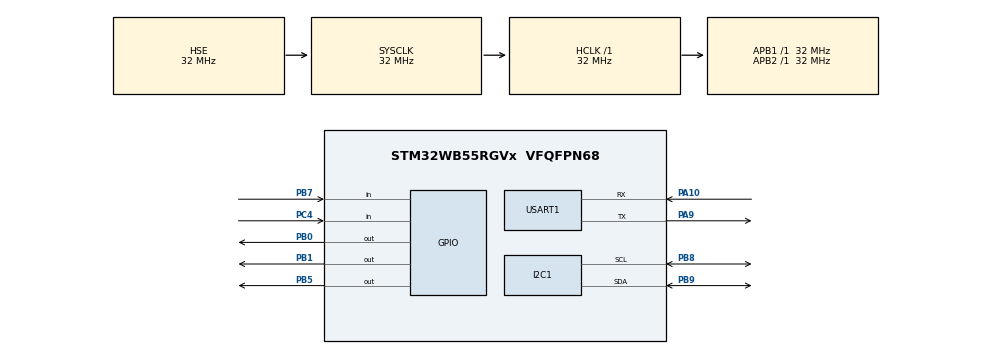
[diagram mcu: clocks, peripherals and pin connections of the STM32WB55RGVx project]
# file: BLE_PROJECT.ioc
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Dma.Request0=USART1_RX
Dma.Request1=USART1_TX
Dma.USART1_RX.0.Direction=DMA_PERIPH_TO_MEMORY
Dma.USART1_RX.0.EventEnable=DISABLE
Dma.USART1_RX.0.Instance=DMA1_Channel1
Dma.USART1_RX.0.MemDataAlignment=DMA_MDATAALIGN_BYTE
Dma.USART1_RX.0.MemInc=DMA_MINC_ENABLE
Dma.USART1_RX.0.Mode=DMA_NORMAL
Dma.USART1_RX.0.PeriphDataAlignment=DMA_PDATAALIGN_BYTE
Dma.USART1_RX.0.PeriphInc=DMA_PINC_DISABLE
Dma.USART1_RX.0.Polarity=HAL_DMAMUX_REQ_GEN_RISING
Dma.USART1_RX.0.Priority=DMA_PRIORITY_LOW
Dma.USART1_RX.0.RequestNumber=1
Dma.USART1_RX.0.SignalID=NONE
Dma.USART1_RX.0.SyncEnable=DISABLE
Dma.USART1_RX.0.SyncPolarity=HAL_DMAMUX_SYNC_NO_EVENT
Dma.USART1_RX.0.SyncRequestNumber=1
Dma.USART1_RX.0.SyncSignalID=NONE
Dma.USART1_TX.1.Direction=DMA_MEMORY_TO_PERIPH
Dma.USART1_TX.1.EventEnable=DISABLE
Dma.USART1_TX.1.Instance=DMA1_Channel2
Dma.USART1_TX.1.MemDataAlignment=DMA_MDATAALIGN_BYTE
Dma.USART1_TX.1.MemInc=DMA_MINC_ENABLE
Dma.USART1_TX.1.Mode=DMA_NORMAL
Dma.USART1_TX.1.PeriphDataAlignment=DMA_PDATAALIGN_BYTE
Dma.USART1_TX.1.PeriphInc=DMA_PINC_DISABLE
Dma.USART1_TX.1.Polarity=HAL_DMAMUX_REQ_GEN_RISING
Dma.USART1_TX.1.Priority=DMA_PRIORITY_LOW
Dma.USART1_TX.1.RequestNumber=1
Dma.USART1_TX.1.SignalID=NONE
Dma.USART1_TX.1.SyncEnable=DISABLE
Dma.USART1_TX.1.SyncPolarity=HAL_DMAMUX_SYNC_NO_EVENT
Dma.USART1_TX.1.SyncRequestNumber=1
Dma.USART1_TX.1.SyncSignalID=NONE
I2C1.Timing=0x00B07CB4
Mcu.Family=STM32WB
Mcu.Name=STM32WB55RGVx
Mcu.Package=VFQFPN68
NVIC.DMA1_Channel1_IRQn=true\:0\:0\:false\:false\:true\:false\:true\:true
NVIC.DMA1_Channel2_IRQn=true\:0\:0\:false\:false\:true\:false\:true\:true
NVIC.HSEM_IRQn=true\:0\:0\:false\:false\:true\:false\:true\:true
NVIC.IPCC_C1_RX_IRQn=true\:0\:0\:false\:false\:true\:true\:true\:true
NVIC.IPCC_C1_TX_IRQn=true\:0\:0\:false\:false\:true\:true\:true\:true
NVIC.PriorityGroup=NVIC_PRIORITYGROUP_4
NVIC.RTC_WKUP_IRQn=true\:0\:0\:false\:false\:true\:true\:true\:true
NVIC.USART1_IRQn=true\:0\:0\:false\:false\:true\:true\:true\:true
OSC_IN.Mode=HSE-External-Oscillator
OSC_IN.Signal=RCC_OSC_IN
OSC_OUT.Mode=HSE-External-Oscillator
OSC_OUT.Signal=RCC_OSC_OUT
PA10.Mode=Asynchronous
PA10.Signal=USART1_RX
PA9.Mode=Asynchronous
PA9.Signal=USART1_TX
PB0.Signal=GPIO_Output
PB1.Signal=GPIO_Output
PB5.Signal=GPIO_Output
PB7.GPIO_PuPd=GPIO_PULLUP
PB7.Signal=GPIO_Input
PB8.Mode=I2C
PB8.Signal=I2C1_SCL
PB9.Mode=I2C
PB9.Signal=I2C1_SDA
PC14-OSC32_IN.Mode=LSE-External-Oscillator
PC14-OSC32_IN.Signal=RCC_OSC32_IN
PC15-OSC32_OUT.Mode=LSE-External-Oscillator
PC15-OSC32_OUT.Signal=RCC_OSC32_OUT
PC4.GPIO_PuPd=GPIO_PULLUP
PC4.Signal=GPIO_Input
ProjectManager.HeapSize=0x200
ProjectManager.StackSize=0x400
ProjectManager.TargetToolchain=STM32CubeIDE
RCC.AHBFreq_Value=32000000
RCC.APB1Freq_Value=32000000
RCC.APB1TimFreq_Value=32000000
RCC.APB2Freq_Value=32000000
RCC.APB2TimFreq_Value=32000000
RCC.APB3Freq_Value=16000000
RCC.CortexFreq_Value=32000000
RCC.HCLKFreq_Value=32000000
RCC.HSE_VALUE=32000000
RCC.HSI48_VALUE=48000000
RCC.HSI_VALUE=16000000
RCC.RFWKPClockSelection=RCC_RFWKPCLKSOURCE_LSE
RCC.RTCClockSelection=RCC_RTCCLKSOURCE_LSE
RCC.SYSCLKFreq_VALUE=32000000
RCC.SYSCLKSource=RCC_SYSCLKSOURCE_HSE
RCC.VCOOutputFreq_Value=32000000
RF1.Mode=RF1_Activate
RF1.Signal=RF_RF1
STM32_WPAN.AD_TYPE_COMPLETE_LOCAL_NAME=HUA_DEVICE
STM32_WPAN.AD_TYPE_COMPLETE_LOCAL_NAME_LENGTH=11
STM32_WPAN.BLE_DBG_APP_EN=1
STM32_WPAN.CFG_DEBUGGER_SUPPORTED=1
STM32_WPAN.CFG_DEBUG_APP_TRACE=1
STM32_WPAN.CFG_DEBUG_BLE_TRACE=1
STM32_WPAN.CFG_DEBUG_TRACE_FULL=1
STM32_WPAN.CFG_DEBUG_TRACE_UART=hw_uart1
STM32_WPAN.CFG_HW_USART1_ENABLED=1
STM32_WPAN.CFG_LPM_SUPPORTED=0
STM32_WPAN.CFG_USED_FIXED_PIN=1
STM32_WPAN.CUSTOM_P2P_SERVER=Disabled
STM32_WPAN.CUSTOM_TEMPLATE=Enabled
STM32_WPAN.INCLUDE_AD_TYPE_COMPLETE_LOCAL_NAME=1
STM32_WPAN.LOCAL_NAME=QWER
STM32_WPAN.LOCAL_NAME_FORMATTED=,'Q','W','E','R'
STM32_WPAN.NUMBER_OF_SERVICES=1
STM32_WPAN.SERVICE1_CHAR1_ATTR_PERMISSION_AUTHEN_READ=ATTR_PERMISSION_AUTHEN_READ
STM32_WPAN.SERVICE1_CHAR1_GATT_NOTIFY_READ_REQ_AND_WAIT_FOR_APPL_RESP=\ 
STM32_WPAN.SERVICE1_CHAR1_GATT_NOTIFY_WRITE_REQ_AND_WAIT_FOR_APPL_RESP=\ 
STM32_WPAN.SERVICE1_CHAR1_LONG_NAME=datasend
STM32_WPAN.SERVICE1_CHAR1_PROP_BROADCAST=CHAR_PROP_BROADCAST
STM32_WPAN.SERVICE1_CHAR1_PROP_INDICATE=CHAR_PROP_INDICATE
STM32_WPAN.SERVICE1_CHAR1_PROP_NOTIFY=CHAR_PROP_NOTIFY
STM32_WPAN.SERVICE1_CHAR1_PROP_READ=CHAR_PROP_READ
STM32_WPAN.SERVICE1_CHAR1_PROP_WRITE=CHAR_PROP_WRITE
STM32_WPAN.SERVICE1_CHAR1_SHORT_NAME=datasend
STM32_WPAN.SERVICE1_CHAR1_VALUE_LENGTH=256
STM32_WPAN.SERVICE1_CHAR2_UUID=00 01
STM32_WPAN.SERVICE1_LONG_NAME=MYSVC
STM32_WPAN.SERVICE1_NUMBER_OF_CHARACTERISTICS=1
STM32_WPAN.SERVICE1_SHORT_NAME=MYSVC
USART1.VirtualMode-Asynchronous=VM_ASYNC
VP_HSEM_VS_HSEM.Mode=HSEM_Activate
VP_IPCC_VS_IPCC.Mode=IPCC_Activate
VP_MEMORYMAP_VS_MEMORYMAP.Mode=CurAppReg
VP_RTC_VS_RTC_Activate.Mode=RTC_Enabled
VP_RTC_VS_RTC_Calendar.Mode=RTC_Calendar
VP_RTC_VS_RTC_WakeUp_intern.Mode=WakeUp
VP_SEQUENCER_VS_SEQUENCER.Mode=SEQUENCER_Enabled
VP_STM32_WPAN_VS_BLE_HOST.Mode=STM32_WPAN_Enabled
VP_TINY_LPM_VS_TINY_LPM.Mode=TINY_LPM_Enabled
board=custom

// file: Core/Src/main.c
/* USER CODE BEGIN Header */
/**
  ******************************************************************************
  * @file           : main.c
  * @brief          : Main program body
  ******************************************************************************
  * @attention
  *
  * Copyright (c) 2024 STMicroelectronics.
  * All rights reserved.
  *
  * This software is licensed under terms that can be found in the LICENSE file
  * in the root directory of this software component.
  * If no LICENSE file comes with this software, it is provided AS-IS.
  *
  ******************************************************************************
  */
/* USER CODE END Header */
#include "main.h"
#include "dma.h"
#include "i2c.h"
#include "ipcc.h"
#include "memorymap.h"
#include "rf.h"
#include "rtc.h"
#include "usart.h"
#include "gpio.h"

/* USER CODE BEGIN Includes */
#include"task.h"
#include"app_conf.h"
#include "dbg_trace.h"
#include"stdio.h"
#include"app_ble.h"
#include"MAX30102.h"
#include"algorithm.h"
#include"app_debug.h"
/* USER CODE END Includes */

/* USER CODE BEGIN PV */
uint8_t HR_Value;

uint8_t BO_Value;

/* USER CODE END PV */

void SystemClock_Config(void);
void PeriphCommonClock_Config(void);

int main(void)
{

  /* MCU Configuration--------------------------------------------------------*/

  /* Reset of all peripherals, Initializes the Flash interface and the Systick. */
  HAL_Init();
  /* Config code for STM32_WPAN (HSE Tuning must be done before system clock configuration) */
  MX_APPE_Config();

  /* Configure the system clock */
  SystemClock_Config();

  /* Configure the peripherals common clocks */
  PeriphCommonClock_Config();

  /* IPCC initialisation */
  MX_IPCC_Init();

  /* Initialize all configured peripherals */
  MX_RF_Init();
  MX_GPIO_Init();
  MX_DMA_Init();
  MX_RTC_Init();
  MX_USART1_UART_Init();
  MX_I2C1_Init();
  /* USER CODE BEGIN 2 */
  APPD_Init();

  /* USER CODE END 2 */

  /* Init code for STM32_WPAN */
  MX_APPE_Init();

  /* Infinite loop */
  /* USER CODE BEGIN WHILE */
  max30102_Init();

  while (1)
  {

    /* USER CODE END WHILE */
    MX_APPE_Process();

    /* USER CODE BEGIN 3 */
    max30102_Calculate_HR_BO_Value(&HR_Value,&BO_Value);
    printf("心率：%d\r\n",HR_Value );
    printf("血氧浓度值：%d\r\n",BO_Value);
    HAL_Delay(10);
  }
  /* USER CODE END 3 */
}

void SystemClock_Config(void)
{
  RCC_OscInitTypeDef RCC_OscInitStruct = {0};
  RCC_ClkInitTypeDef RCC_ClkInitStruct = {0};

  /** Configure LSE Drive Capability
  */
  HAL_PWR_EnableBkUpAccess();
  __HAL_RCC_LSEDRIVE_CONFIG(RCC_LSEDRIVE_MEDIUMHIGH);

  /** Configure the main internal regulator output voltage
  */
  __HAL_PWR_VOLTAGESCALING_CONFIG(PWR_REGULATOR_VOLTAGE_SCALE1);

  /** Initializes the RCC Oscillators according to the specified parameters
  * in the RCC_OscInitTypeDef structure.
  */
  RCC_OscInitStruct.OscillatorType = RCC_OSCILLATORTYPE_HSI|RCC_OSCILLATORTYPE_HSE
                              |RCC_OSCILLATORTYPE_LSE;
  RCC_OscInitStruct.HSEState = RCC_HSE_ON;
  RCC_OscInitStruct.LSEState = RCC_LSE_ON;
  RCC_OscInitStruct.HSIState = RCC_HSI_ON;
  RCC_OscInitStruct.HSICalibrationValue = RCC_HSICALIBRATION_DEFAULT;
  RCC_OscInitStruct.PLL.PLLState = RCC_PLL_NONE;
  if (HAL_RCC_OscConfig(&RCC_OscInitStruct) != HAL_OK)
  {
    Error_Handler();
  }

  /** Configure the SYSCLKSource, HCLK, PCLK1 and PCLK2 clocks dividers
  */
  RCC_ClkInitStruct.ClockType = RCC_CLOCKTYPE_HCLK4|RCC_CLOCKTYPE_HCLK2
                              |RCC_CLOCKTYPE_HCLK|RCC_CLOCKTYPE_SYSCLK
                              |RCC_CLOCKTYPE_PCLK1|RCC_CLOCKTYPE_PCLK2;
  RCC_ClkInitStruct.SYSCLKSource = RCC_SYSCLKSOURCE_HSE;
  RCC_ClkInitStruct.AHBCLKDivider = RCC_SYSCLK_DIV1;
  RCC_ClkInitStruct.APB1CLKDivider = RCC_HCLK_DIV1;
  RCC_ClkInitStruct.APB2CLKDivider = RCC_HCLK_DIV1;
  RCC_ClkInitStruct.AHBCLK2Divider = RCC_SYSCLK_DIV1;
  RCC_ClkInitStruct.AHBCLK4Divider = RCC_SYSCLK_DIV1;

  if (HAL_RCC_ClockConfig(&RCC_ClkInitStruct, FLASH_LATENCY_1) != HAL_OK)
  {
    Error_Handler();
  }
}

void PeriphCommonClock_Config(void)
{
  RCC_PeriphCLKInitTypeDef PeriphClkInitStruct = {0};

  /** Initializes the peripherals clock
  */
  PeriphClkInitStruct.PeriphClockSelection = RCC_PERIPHCLK_SMPS|RCC_PERIPHCLK_RFWAKEUP;
  PeriphClkInitStruct.RFWakeUpClockSelection = RCC_RFWKPCLKSOURCE_LSE;
  PeriphClkInitStruct.SmpsClockSelection = RCC_SMPSCLKSOURCE_HSI;
  PeriphClkInitStruct.SmpsDivSelection = RCC_SMPSCLKDIV_RANGE1;

  if (HAL_RCCEx_PeriphCLKConfig(&PeriphClkInitStruct) != HAL_OK)
  {
    Error_Handler();
  }
}

void Error_Handler(void)
{
  __disable_irq();
  while (1)
  {
  }
}
